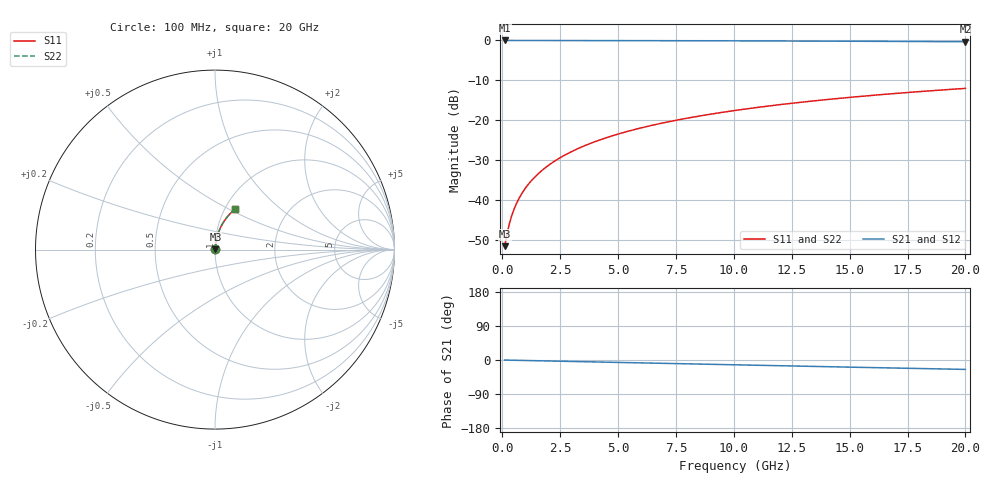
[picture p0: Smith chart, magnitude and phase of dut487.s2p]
! Touchstone file exported from HFSS 2026.1.0
!  File:  C:/ffzhzh/LocalFiles/Ansys_Project_Files/temp_train_TMRDL_487_1783006510_53980.aedt
!  Generated:  11:36:26 PM Jul  2, 2026
!  Design:  TMRDL
!  Project:  temp_train_TMRDL_487_1783006510_53980
! Variables:
!  h_bsmrdl = 2um
!  h_ox = 20um
!  h_rdl = 5um
!  h_sub = 80um
!  h_tmrdl = 2.22um
!  h_tsv = 80um
!  h_via = 3um
!  l_bsmrdl = 300um
!  l_sub = 711.07um
!  l_tmrdl = 311.07um
!  m_sub = 200um
!  pitch = 57.14um
!  r_tsv = 6um
!  s_tmrdl = 10um
!  w_bsmrdl = 18um
!  w_sub = 500um
!  w_tmrdl = 27.97um
!  x_tsv_center1 = 325.055um
!  x_tsv_center2 = 643.055um
!  x_tsv_center3 = 982.095um
!  x_tsv_center4 = 1300.095um
!  x_tsv_center5 = 1639.135um
!  x_tsv_center6 = 1957.135um
# GHz S MA R 50.000000
! Terminal data exported
! Port[1] = TM_RDL1_1_T1
! Port[2] = TM_RDL1_1_T2
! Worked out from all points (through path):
!   200 points, 100 MHz to 20 GHz, reference 50 ohm
!   highest |S21| = -0.02 dB at 100 MHz (marker M1); lowest = -0.3 dB at 20 GHz (marker M2)
!   group delay of S21, straight-line fit = 3.45 ps
!   lowest |S11| = -51.6 dB at 100 MHz (marker M3), VSWR 1.01, Z = 50.2 + j0.149 ohm
!   |S11| at or under -10 dB: start of sweep to end of sweep
!   |S22| runs from -51.6 to -12.0 dB; largest |S21 - S12| = 2.3e-15
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0.1  0.002642 34.1  0.9978 -0.1  0.9978 -0.1  0.002642 34.1
! Gamma 0 0 0 0
! Port Impedance 50 0 50 0
0.2  0.003712 52.4  0.9977 -0.3  0.9977 -0.3  0.003712 52.4
0.3  0.004969 61.5  0.9977 -0.4  0.9977 -0.4  0.004969 61.5
0.4  0.006273 66.6  0.9975 -0.5  0.9975 -0.5  0.006273 66.6
0.5  0.007583 69.9  0.9975 -0.7  0.9975 -0.7  0.007583 69.9
0.6  0.008891 72.2  0.9974 -0.8  0.9974 -0.8  0.008891 72.2
0.8  0.0115 75.2  0.9972 -1.0  0.9972 -1.0  0.0115 75.2
1.1  0.01542 77.9  0.9971 -1.4  0.9971 -1.4  0.01542 77.9
1.3  0.01804 79.1  0.997 -1.7  0.997 -1.7  0.01804 79.1
1.6  0.02199 80.2  0.9968 -2.1  0.9968 -2.1  0.02199 80.2
2.1  0.0286 81.2  0.9966 -2.7  0.9966 -2.7  0.0286 81.2
2.7  0.03656 81.7  0.9963 -3.5  0.9963 -3.5  0.03656 81.7
3.5  0.04719 81.6  0.9957 -4.5  0.9957 -4.5  0.04719 81.7
4.2  0.05648 81.3  0.9951 -5.4  0.9951 -5.4  0.05647 81.3
5  0.06705 80.7  0.9944 -6.4  0.9944 -6.4  0.06705 80.7
5.9  0.0789 79.9  0.9934 -7.5  0.9934 -7.5  0.0789 79.9
6.8  0.09067 79.0  0.9922 -8.7  0.9922 -8.7  0.09067 79.0
8.3  0.1101 77.4  0.99 -10.6  0.99 -10.6  0.1101 77.4
10.1  0.1331 75.3  0.9868 -12.8  0.9868 -12.8  0.1331 75.3
13.4  0.174 71.4  0.9798 -16.9  0.9798 -16.9  0.174 71.5
16.7  0.2132 67.6  0.9714 -20.9  0.9714 -20.9  0.2131 67.6
20  0.2504 63.7  0.962 -24.8  0.962 -24.8  0.2503 63.8
